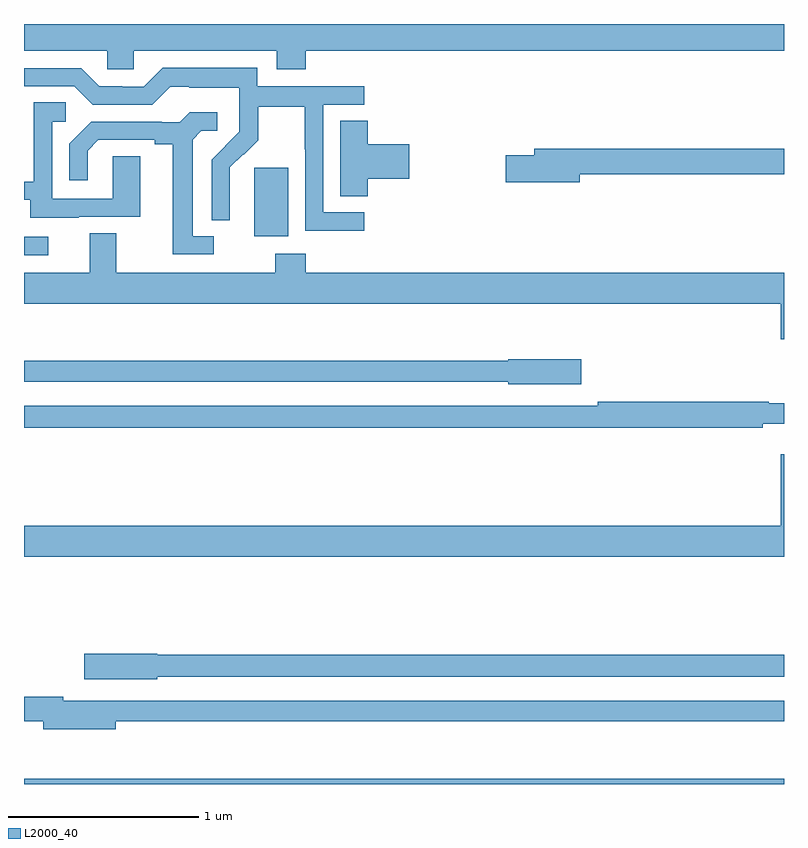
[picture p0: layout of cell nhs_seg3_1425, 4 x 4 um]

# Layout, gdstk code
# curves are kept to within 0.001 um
import gdstk
lib = gdstk.Library(unit=1e-6, precision=1e-09)
def R(c, l, rs):  # rectangles x0, y0, x1, y1
    for r in rs: c.add(gdstk.rectangle(r[:2], r[2:], *l))
def P(c, l, *ps):  # polygons
    for p in ps: c.add(gdstk.Polygon(p, *l))
L2000_40 = (2000, 40)

nhs_seg3_1425 = lib.new_cell('nhs_seg3_1425')
R(nhs_seg3_1425, L2000_40, [(185,686.4,189,686.428), (185,689.184,185.128,689.28), (186.212,689.282,186.391,689.643)])
P(nhs_seg3_1425, L2000_40, [(186.482,690.26),(189,690.26),(189,690.4),(185,690.4),(185,690.26),(185.439,690.26),(185.439,690.162),(185.577,690.162),(185.577,690.26),(186.329,690.26),(186.329,690.161),(186.482,690.161)],
  [(186.79,689.409),(186.576,689.409),(186.576,689.976),(186.79,689.976),(186.79,690.072),(186.228,690.072),(186.228,690.169),(185.731,690.169),(185.631,690.069),(185.516,690.069),(185.516,690.072),(185.397,690.072),(185.301,690.168),(185,690.168),(185,690.072),(185.265,690.072),(185.361,689.976),(185.676,689.976),(185.769,690.069),(185.869,690.069),(185.869,690.065),(186.132,690.065),(186.132,689.931),(186.134,689.931),(186.134,689.834),(185.988,689.686),(185.988,689.368),(186.084,689.368),(186.083,689.645),(186.153,689.715),(186.156,689.712),(186.233,689.789),(186.233,689.964),(186.478,689.964),(186.478,689.74),(186.48,689.74),(186.48,689.311),(186.79,689.311)],
  [(185.287,689.385),(185.611,689.385),(185.611,689.705),(185.466,689.705),(185.466,689.481),(185.148,689.481),(185.148,689.886),(185.221,689.886),(185.221,689.987),(185.052,689.987),(185.052,689.571),(185,689.571),(185,689.475),(185.033,689.475),(185.033,689.381),(185.287,689.381)],
  [(185.998,689.283),(185.887,689.283),(185.887,689.791),(185.934,689.838),(186.016,689.838),(186.016,689.935),(185.872,689.935),(185.82,689.883),(185.726,689.883),(185.726,689.886),(185.354,689.886),(185.238,689.77),(185.238,689.577),(185.335,689.577),(185.335,689.733),(185.392,689.79),(185.687,689.79),(185.687,689.768),(185.783,689.768),(185.783,689.187),(185.998,689.187)],
  [(186.809,689.585),(187.027,689.585),(187.027,689.768),(186.809,689.768),(186.809,689.891),(186.665,689.891),(186.665,689.494),(186.809,689.494)],
  [(187.924,689.608),(189,689.608),(189,689.744),(187.685,689.744),(187.685,689.708),(187.536,689.708),(187.536,689.566),(187.924,689.566)],
  [(185.345,689.3),(185.345,689.092),(185,689.092),(185,688.928),(188.984,688.928),(188.984,688.74),(189,688.74),(189,689.092),(186.482,689.092),(186.482,689.191),(186.322,689.191),(186.322,689.092),(185.485,689.092),(185.485,689.3)],
  [(187.933,688.635),(187.548,688.635),(187.548,688.627),(185,688.627),(185,688.518),(187.548,688.518),(187.548,688.505),(187.933,688.505)],
  [(188.888,688.295),(189,688.295),(189,688.405),(188.92,688.405),(188.92,688.412),(188.02,688.412),(188.02,688.392),(185,688.392),(185,688.276),(188.888,688.276)],
  [(189,688.135),(188.984,688.135),(188.984,687.76),(185,687.76),(185,687.596),(189,687.596)],
  [(185.7,686.964),(189,686.964),(189,687.08),(185.7,687.08),(185.7,687.086),(185.316,687.086),(185.316,686.951),(185.7,686.951)],
  [(185.482,686.73),(189,686.73),(189,686.838),(185.206,686.838),(185.206,686.858),(185,686.858),(185,686.73),(185.102,686.73),(185.102,686.687),(185.482,686.687)])

lib.write_gds('nhs_seg3_1425.gds')
